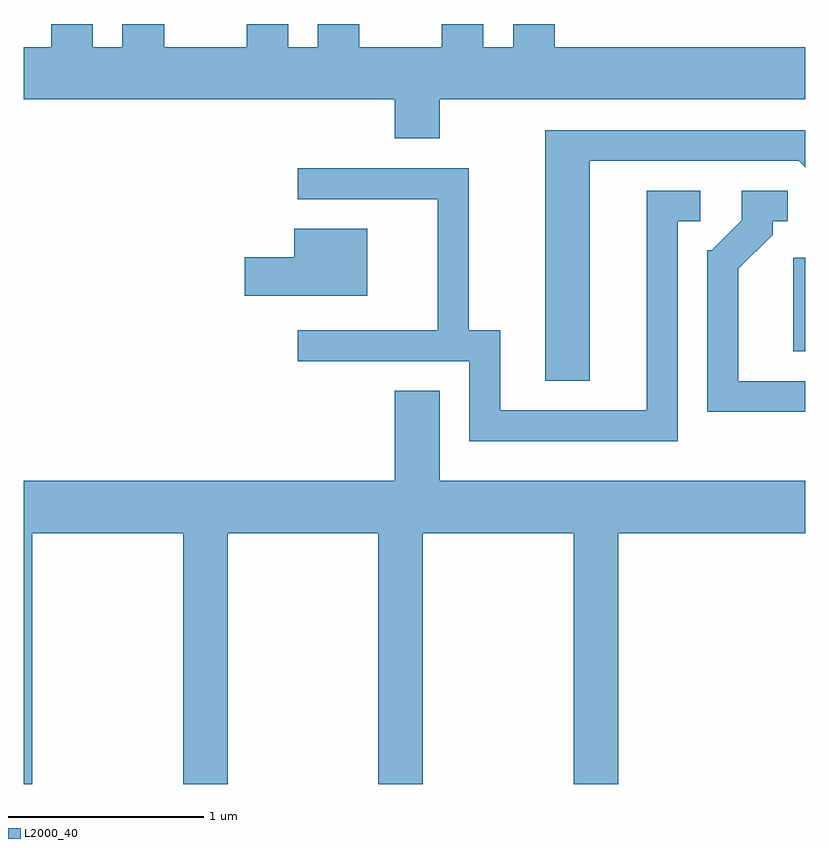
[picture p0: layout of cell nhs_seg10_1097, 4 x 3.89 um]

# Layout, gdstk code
import gdstk
lib = gdstk.Library(unit=1e-6, precision=1e-09)
def R(c, l, rs):  # rectangles x0, y0, x1, y1
    for r in rs: c.add(gdstk.rectangle(r[:2], r[2:], *l))
def P(c, l, *ps):  # polygons
    for p in ps: c.add(gdstk.Polygon(p, *l))
L2000_40 = (2000, 40)

nhs_seg10_1097 = lib.new_cell('nhs_seg10_1097')
R(nhs_seg10_1097, L2000_40, [(221.551,2114.846,221.611,2115.324)])
P(nhs_seg10_1097, L2000_40, [(219.739,2116.136),(221.611,2116.136),(221.611,2116.404),(220.329,2116.404),(220.329,2116.522),(220.116,2116.522),(220.116,2116.404),(219.964,2116.404),(219.964,2116.522),(219.751,2116.522),(219.751,2116.404),(219.329,2116.404),(219.329,2116.522),(219.116,2116.522),(219.116,2116.404),(218.964,2116.404),(218.964,2116.522),(218.751,2116.522),(218.751,2116.404),(218.329,2116.404),(218.329,2116.522),(218.116,2116.522),(218.116,2116.404),(217.964,2116.404),(217.964,2116.522),(217.751,2116.522),(217.751,2116.404),(217.611,2116.404),(217.611,2116.136),(219.511,2116.136),(219.511,2115.936),(219.739,2115.936)],
  [(220.509,2115.821),(221.579,2115.821),(221.611,2115.789),(221.611,2115.979),(220.281,2115.979),(220.281,2114.696),(220.509,2114.696)],
  [(220.959,2115.511),(221.073,2115.511),(221.073,2115.669),(220.801,2115.669),(220.801,2114.544),(220.049,2114.544),(220.049,2114.954),(219.889,2114.954),(219.889,2115.784),(219.013,2115.784),(219.013,2115.626),(219.731,2115.626),(219.731,2114.954),(219.013,2114.954),(219.013,2114.796),(219.891,2114.796),(219.891,2114.386),(220.959,2114.386)],
  [(221.611,2114.694),(221.269,2114.694),(221.269,2115.269),(221.444,2115.444),(221.444,2115.511),(221.523,2115.511),(221.523,2115.669),(221.286,2115.669),(221.286,2115.517),(221.134,2115.364),(221.111,2115.364),(221.111,2114.536),(221.611,2114.536)],
  [(219.369,2115.474),(218.996,2115.474),(218.996,2115.329),(218.741,2115.329),(218.741,2115.131),(219.369,2115.131)],
  [(217.654,2113.916),(218.426,2113.916),(218.426,2112.631),(218.654,2112.631),(218.654,2113.916),(219.426,2113.916),(219.426,2112.631),(219.654,2112.631),(219.654,2113.916),(220.426,2113.916),(220.426,2112.631),(220.654,2112.631),(220.654,2113.916),(221.611,2113.916),(221.611,2114.184),(219.739,2114.184),(219.739,2114.644),(219.511,2114.644),(219.511,2114.184),(217.611,2114.184),(217.611,2112.631),(217.654,2112.631)])

lib.write_gds('nhs_seg10_1097.gds')
